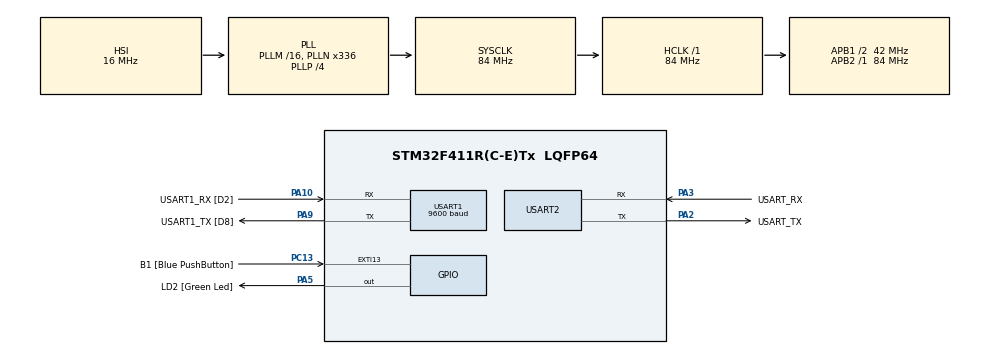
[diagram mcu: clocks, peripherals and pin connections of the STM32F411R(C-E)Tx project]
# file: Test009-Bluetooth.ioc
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Dma.Request0=USART1_RX
Dma.Request1=USART2_RX
Dma.USART1_RX.0.Direction=DMA_PERIPH_TO_MEMORY
Dma.USART1_RX.0.FIFOMode=DMA_FIFOMODE_DISABLE
Dma.USART1_RX.0.Instance=DMA2_Stream2
Dma.USART1_RX.0.MemDataAlignment=DMA_MDATAALIGN_BYTE
Dma.USART1_RX.0.MemInc=DMA_MINC_ENABLE
Dma.USART1_RX.0.Mode=DMA_CIRCULAR
Dma.USART1_RX.0.PeriphDataAlignment=DMA_PDATAALIGN_BYTE
Dma.USART1_RX.0.PeriphInc=DMA_PINC_DISABLE
Dma.USART1_RX.0.Priority=DMA_PRIORITY_LOW
Dma.USART2_RX.1.Direction=DMA_PERIPH_TO_MEMORY
Dma.USART2_RX.1.FIFOMode=DMA_FIFOMODE_DISABLE
Dma.USART2_RX.1.Instance=DMA1_Stream5
Dma.USART2_RX.1.MemDataAlignment=DMA_MDATAALIGN_BYTE
Dma.USART2_RX.1.MemInc=DMA_MINC_ENABLE
Dma.USART2_RX.1.Mode=DMA_CIRCULAR
Dma.USART2_RX.1.PeriphDataAlignment=DMA_PDATAALIGN_BYTE
Dma.USART2_RX.1.PeriphInc=DMA_PINC_DISABLE
Dma.USART2_RX.1.Priority=DMA_PRIORITY_LOW
Mcu.Family=STM32F4
Mcu.Name=STM32F411R(C-E)Tx
Mcu.Package=LQFP64
NVIC.DMA1_Stream5_IRQn=true\:0\:0\:false\:false\:true\:false\:true\:true
NVIC.DMA2_Stream2_IRQn=true\:0\:0\:false\:false\:true\:false\:true\:true
NVIC.PriorityGroup=NVIC_PRIORITYGROUP_0
NVIC.USART1_IRQn=true\:0\:0\:false\:false\:true\:true\:true\:true
NVIC.USART2_IRQn=true\:0\:0\:false\:false\:true\:true\:true\:true
PA10.GPIO_Label=USART1_RX [D2]
PA10.Mode=Asynchronous
PA10.Signal=USART1_RX
PA13.GPIO_Label=TMS
PA13.Mode=Serial_Wire
PA13.Signal=SYS_JTMS-SWDIO
PA14.GPIO_Label=TCK
PA14.Mode=Serial_Wire
PA14.Signal=SYS_JTCK-SWCLK
PA2.GPIO_Label=USART_TX
PA2.Mode=Asynchronous
PA2.Signal=USART2_TX
PA3.GPIO_Label=USART_RX
PA3.Mode=Asynchronous
PA3.Signal=USART2_RX
PA5.GPIO_Label=LD2 [Green Led]
PA5.Signal=GPIO_Output
PA9.GPIO_Label=USART1_TX [D8]
PA9.Mode=Asynchronous
PA9.Signal=USART1_TX
PB3.GPIO_Label=SWO
PB3.Signal=SYS_JTDO-SWO
PC13-ANTI_TAMP.GPIO_Label=B1 [Blue PushButton]
PC13-ANTI_TAMP.GPIO_ModeDefaultEXTI=GPIO_MODE_IT_FALLING
PC13-ANTI_TAMP.Signal=GPXTI13
PC14-OSC32_IN.Mode=LSE-External-Oscillator
PC14-OSC32_IN.Signal=RCC_OSC32_IN
PC15-OSC32_OUT.Mode=LSE-External-Oscillator
PC15-OSC32_OUT.Signal=RCC_OSC32_OUT
PH0\ -\ OSC_IN.Mode=HSE-External-Clock-Source
PH0\ -\ OSC_IN.Signal=RCC_OSC_IN
PH1\ -\ OSC_OUT.Mode=HSE-External-Clock-Source
PH1\ -\ OSC_OUT.Signal=RCC_OSC_OUT
ProjectManager.HeapSize=0x200
ProjectManager.StackSize=0x400
ProjectManager.TargetToolchain=STM32CubeIDE
RCC.48MHZClocksFreq_Value=84000000
RCC.AHBFreq_Value=84000000
RCC.APB1CLKDivider=RCC_HCLK_DIV2
RCC.APB1Freq_Value=42000000
RCC.APB1TimFreq_Value=84000000
RCC.APB2Freq_Value=84000000
RCC.APB2TimFreq_Value=84000000
RCC.CortexFreq_Value=84000000
RCC.FLatency-AdvancedSettings=FLASH_LATENCY_2
RCC.HCLKFreq_Value=84000000
RCC.HSE_VALUE=8000000
RCC.HSI_VALUE=16000000
RCC.PLLN=336
RCC.PLLP=RCC_PLLP_DIV4
RCC.SYSCLKFreq_VALUE=84000000
RCC.SYSCLKSource=RCC_SYSCLKSOURCE_PLLCLK
RCC.VCOOutputFreq_Value=336000000
USART1.BaudRate=9600
USART1.VirtualMode=VM_ASYNC
USART2.VirtualMode=VM_ASYNC
board=NUCLEO-F411RE

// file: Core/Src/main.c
/* USER CODE BEGIN Header */
/**
  ******************************************************************************
  * @file           : main.c
  * @brief          : Main program body
  ******************************************************************************
  * @attention
  *
  * Copyright (c) 2025 STMicroelectronics.
  * All rights reserved.
  *
  * This software is licensed under terms that can be found in the LICENSE file
  * in the root directory of this software component.
  * If no LICENSE file comes with this software, it is provided AS-IS.
  *
  ******************************************************************************
  */
/* USER CODE END Header */
#include "main.h"

/* USER CODE BEGIN Includes */
#include <stdio.h>
/* USER CODE END Includes */

UART_HandleTypeDef huart1;
UART_HandleTypeDef huart2;
DMA_HandleTypeDef hdma_usart1_rx;
DMA_HandleTypeDef hdma_usart2_rx;

void SystemClock_Config(void);
static void MX_GPIO_Init(void);
static void MX_DMA_Init(void);
static void MX_USART2_UART_Init(void);
static void MX_USART1_UART_Init(void);

/* USER CODE BEGIN 0 */
#define BUF_SIZE 100
char DUM1, DUM2; // Dummy Buffer for UART RX Interrupt (1-byte)
char BUF1[BUF_SIZE], BUF2[BUF_SIZE]; // DMA Buffer for UART1, UART2
int Head1 = 0, Head2 = 0;
int Tail1 = 0, Tail2 = 0;

void HAL_UART_RxCpltCallback(UART_HandleTypeDef *huart)
{
	if (huart == &huart1) // from Bluetooth Module
	{
			BUF1[Tail1++] = DUM1; // Store 1-byte Data to BUF1
			HAL_UART_Transmit(&huart2, &DUM1, 1, 10); // Print the Bluetooth RX Data at Putty
			// HAL_UART_Transmit(&huart2, BUF1 + Tail1 - 1, 1, 10); // DUM1 is stored at BUF[Tail1 - 1]

			if (DUM1 == '\r') // EOL - LF
			{
					CheckCMD(BUF1); Tail1 = 0;
			}
			HAL_UART_Receive_IT(&huart1, &DUM1, 1); // Due to one-time Interrupt > Recursive Expression
	} // if (huart == &huart1)

	else if (huart == &huart2) // from USB UART2 (Type Data on PC Putty)
	{
			BUF2[Tail2++] = DUM2; // Store 1-byte Data to BUF2
			HAL_UART_Transmit(&huart2, &DUM2, 1, 10); // Echo (Show what you typed)
			if (DUM2 == '\r') // Input Char == Enter (CR : 0X0D) >> Next Line
			{
				HAL_UART_Transmit(&huart2, "\n", 1, 10);
				// HAL_UART_Transmit(&huart1, "\n", 1, 10); // "\n" : Due to Pointer Type (uint8_t *pData)

				BUF2[Tail2++] = '\n'; // Append LF for EOL
				HAL_UART_Transmit(&huart1, BUF2, Tail2, 10);
				// Press Enter > TX BUF2 Data (Length : Tail2) through UART1 (Bluetooth)
				// UART1 RX Interrupt > Print BUF2 Data at Putty

				Tail2 = 0; // BUF2 Pointer Reset
			}
			HAL_UART_Receive_IT(&huart2, &DUM2, 1); // Due to one-time Interrupt > Recursive Expression
	} // else if (huart == &huart2)
} // void HAL_UART_RxCpltCallback(UART_HandleTypeDef *huart)

void TrimEx(char *Dest, char *Source) // ex) source = "___xxx__\t\r\n "
{
	int Head = 0;
	int Tail = strlen(Source) - 1; // Exclude '\0' (Null)

	while(1) // Head Index
	{
			if ( *(Source + Head) == ' ' || *(Source + Head) == '\t' || *(Source + Head) == '\r'  || *(Source + Head) == '\n' ) // Whitespace, Tap, CR, LF
				Head++;
			else
				break;
	}
	while(1) // Tail Index
	{
			if ( *(Source + Tail) == ' ' || *(Source + Tail) == '\t' || *(Source + Tail) == '\r'  || *(Source + Tail) == '\n' ) // Whitespace, Tap, CR, LF
				Tail--;
			else
				break;
	}
	strncpy(Dest, Source + Head, (Tail - Head + 1) ); // strncpy // Consider Zero-base Index
}

char * Trim(char *Source) // ex) source = "___xxx__\t\r\n "
// Memory Dynamic Allocation Version
{
	int Head = 0;
	int Tail = strlen(Source) - 1; // Exclude '\0' (Null)
	/*
	while(1) { // Head Index
			if ( *(Source + Head) == ' ' || *(Source + Head) == '\t' || *(Source + Head) == '\r'  || *(Source + Head) == '\n' ) Head++; // Whitespace, Tap, CR, LF
			else break;
	}
	while(1) { // Tail Index
			if ( *(Source + Tail) == ' ' || *(Source + Tail) == '\t' || *(Source + Tail) == '\r'  || *(Source + Tail) == '\n' ) Tail--; // Whitespace, Tap, CR, LF
			else break;
	}
	*/
	while( *(Source + Head) == ' ' || *(Source + Head) == '\t' || *(Source + Head) == '\r'  || *(Source + Head) == '\n' ) Head++; // Head Index
	while( *(Source + Tail) == ' ' || *(Source + Tail) == '\t' || *(Source + Tail) == '\r'  || *(Source + Tail) == '\n' ) Tail--;

	char * Dest = (char *) malloc(Tail - Head + 1); // malloc(size)
	// void	*malloc(size_t) __malloc_like __result_use_check __alloc_size(1) _NOTHROW;
	strncpy(Dest, Source + Head, (Tail - Head + 1) ); // strncpy // Consider Zero-base Index
	return Dest;
}

void CheckCMD(char *bb) // ex) str = "   LED 1   " ==>  str = "LED 1" << How to process whitespace??
{
	// char str[100];
	// char arg[50];
	// char * bb = Trim(str);
	// TrimEx(str, bb); // Remove whitespace (bb > str) // void Trim(char *dest, char *source)
	char * str = Trim(bb); // char * Trim(char *Source) ~ return dest;
	ToUpper(str);
	// ToLower(str);
	if ( strncmp(str, "LED", 3) == 0 ) // strncmp function : First n-bit of String Compare
	{
		// TrimEx(arg, str + 3);
		char *arg = Trim(str + 3);
		// LED와 숫자 사이 공백 제거 - "LED" 이후부터 Trim
			// if ( str[4] == '1')
			if ( arg[0] == '1')
			{
				HAL_GPIO_WritePin(LD2_GPIO_Port, LD2_Pin, 1);
				// HAL_GPIO_WritePin(GPIOx, GPIO_Pin, PinState)
			}
			// else if ( str[4] == '0')
			else if ( arg[0] == '0')
			{
				HAL_GPIO_WritePin(LD2_GPIO_Port, LD2_Pin, 0);
				// HAL_GPIO_WritePin(GPIOx, GPIO_Pin, PinState)
			}
	}
}

/* USER CODE END 0 */

int main(void)
{

  /* MCU Configuration--------------------------------------------------------*/

  /* Reset of all peripherals, Initializes the Flash interface and the Systick. */
  HAL_Init();

  /* Configure the system clock */
  SystemClock_Config();

  /* Initialize all configured peripherals */
  MX_GPIO_Init();
  MX_DMA_Init();
  MX_USART2_UART_Init();
  MX_USART1_UART_Init();
  /* USER CODE BEGIN 2 */
  ProgramStart("Bluetooth");
  // HAL_UART_Receive_DMA(&huart1, BUF1, BUF_SIZE);
  // HAL_UART_Receive_DMA(&huart2, BUF2, BUF_SIZE);
  // HAL_StatusTypeDef HAL_UART_Receive_DMA(UART_HandleTypeDef *huart, uint8_t *pData, uint16_t Size)
  // uint8_t *pData : Buffer
  // uint16_t Size : Buffer Size = MAX_BUF(100)
  HAL_UART_Receive_IT(&huart1, &DUM1, 1); // 1-byte UART RX > Interrupt
  HAL_UART_Receive_IT(&huart2, &DUM2, 1); // 1-byte UART RX > Interrupt
  // HAL_StatusTypeDef HAL_UART_Receive_IT(UART_HandleTypeDef *huart, uint8_t *pData, uint16_t Size)

  /* USER CODE END 2 */

  /* Infinite loop */
  /* USER CODE BEGIN WHILE */
  while (1)
  {
		/*
	  	  char str[100];
		printf( "Typed : ");
		scanf( "%s", str);
		printf( "You Typed : %s \r\n", str);
		printf( "Change Lower-case to Upper-case \r\n");
		ToUpper(str);
		printf( "Changed Version : %s \r\n", str);
		 */

    /* USER CODE END WHILE */

  }
}

void SystemClock_Config(void)
{
  RCC_OscInitTypeDef RCC_OscInitStruct = {0};
  RCC_ClkInitTypeDef RCC_ClkInitStruct = {0};

  /** Configure the main internal regulator output voltage
  */
  __HAL_RCC_PWR_CLK_ENABLE();
  __HAL_PWR_VOLTAGESCALING_CONFIG(PWR_REGULATOR_VOLTAGE_SCALE1);

  /** Initializes the RCC Oscillators according to the specified parameters
  * in the RCC_OscInitTypeDef structure.
  */
  RCC_OscInitStruct.OscillatorType = RCC_OSCILLATORTYPE_HSI;
  RCC_OscInitStruct.HSIState = RCC_HSI_ON;
  RCC_OscInitStruct.HSICalibrationValue = RCC_HSICALIBRATION_DEFAULT;
  RCC_OscInitStruct.PLL.PLLState = RCC_PLL_ON;
  RCC_OscInitStruct.PLL.PLLSource = RCC_PLLSOURCE_HSI;
  RCC_OscInitStruct.PLL.PLLM = 16;
  RCC_OscInitStruct.PLL.PLLN = 336;
  RCC_OscInitStruct.PLL.PLLP = RCC_PLLP_DIV4;
  RCC_OscInitStruct.PLL.PLLQ = 4;
  if (HAL_RCC_OscConfig(&RCC_OscInitStruct) != HAL_OK)
  {
    Error_Handler();
  }

  /** Initializes the CPU, AHB and APB buses clocks
  */
  RCC_ClkInitStruct.ClockType = RCC_CLOCKTYPE_HCLK|RCC_CLOCKTYPE_SYSCLK
                              |RCC_CLOCKTYPE_PCLK1|RCC_CLOCKTYPE_PCLK2;
  RCC_ClkInitStruct.SYSCLKSource = RCC_SYSCLKSOURCE_PLLCLK;
  RCC_ClkInitStruct.AHBCLKDivider = RCC_SYSCLK_DIV1;
  RCC_ClkInitStruct.APB1CLKDivider = RCC_HCLK_DIV2;
  RCC_ClkInitStruct.APB2CLKDivider = RCC_HCLK_DIV1;

  if (HAL_RCC_ClockConfig(&RCC_ClkInitStruct, FLASH_LATENCY_2) != HAL_OK)
  {
    Error_Handler();
  }
}

static void MX_USART1_UART_Init(void)
{

  huart1.Instance = USART1;
  huart1.Init.BaudRate = 9600;
  huart1.Init.WordLength = UART_WORDLENGTH_8B;
  huart1.Init.StopBits = UART_STOPBITS_1;
  huart1.Init.Parity = UART_PARITY_NONE;
  huart1.Init.Mode = UART_MODE_TX_RX;
  huart1.Init.HwFlowCtl = UART_HWCONTROL_NONE;
  huart1.Init.OverSampling = UART_OVERSAMPLING_16;
  if (HAL_UART_Init(&huart1) != HAL_OK)
  {
    Error_Handler();
  }

}

static void MX_USART2_UART_Init(void)
{

  huart2.Instance = USART2;
  huart2.Init.BaudRate = 115200;
  huart2.Init.WordLength = UART_WORDLENGTH_8B;
  huart2.Init.StopBits = UART_STOPBITS_1;
  huart2.Init.Parity = UART_PARITY_NONE;
  huart2.Init.Mode = UART_MODE_TX_RX;
  huart2.Init.HwFlowCtl = UART_HWCONTROL_NONE;
  huart2.Init.OverSampling = UART_OVERSAMPLING_16;
  if (HAL_UART_Init(&huart2) != HAL_OK)
  {
    Error_Handler();
  }

}

static void MX_DMA_Init(void)
{

  /* DMA controller clock enable */
  __HAL_RCC_DMA2_CLK_ENABLE();
  __HAL_RCC_DMA1_CLK_ENABLE();

  /* DMA interrupt init */
  /* DMA1_Stream5_IRQn interrupt configuration */
  HAL_NVIC_SetPriority(DMA1_Stream5_IRQn, 0, 0);
  HAL_NVIC_EnableIRQ(DMA1_Stream5_IRQn);
  /* DMA2_Stream2_IRQn interrupt configuration */
  HAL_NVIC_SetPriority(DMA2_Stream2_IRQn, 0, 0);
  HAL_NVIC_EnableIRQ(DMA2_Stream2_IRQn);

}

static void MX_GPIO_Init(void)
{
  GPIO_InitTypeDef GPIO_InitStruct = {0};

  /* GPIO Ports Clock Enable */
  __HAL_RCC_GPIOC_CLK_ENABLE();
  __HAL_RCC_GPIOH_CLK_ENABLE();
  __HAL_RCC_GPIOA_CLK_ENABLE();
  __HAL_RCC_GPIOB_CLK_ENABLE();

  /*Configure GPIO pin Output Level */
  HAL_GPIO_WritePin(LD2_GPIO_Port, LD2_Pin, GPIO_PIN_RESET);

  /*Configure GPIO pin : B1_Pin */
  GPIO_InitStruct.Pin = B1_Pin;
  GPIO_InitStruct.Mode = GPIO_MODE_IT_FALLING;
  GPIO_InitStruct.Pull = GPIO_NOPULL;
  HAL_GPIO_Init(B1_GPIO_Port, &GPIO_InitStruct);

  /*Configure GPIO pin : LD2_Pin */
  GPIO_InitStruct.Pin = LD2_Pin;
  GPIO_InitStruct.Mode = GPIO_MODE_OUTPUT_PP;
  GPIO_InitStruct.Pull = GPIO_NOPULL;
  GPIO_InitStruct.Speed = GPIO_SPEED_FREQ_LOW;
  HAL_GPIO_Init(LD2_GPIO_Port, &GPIO_InitStruct);

}

void Error_Handler(void)
{
  __disable_irq();
  while (1)
  {
  }
}
